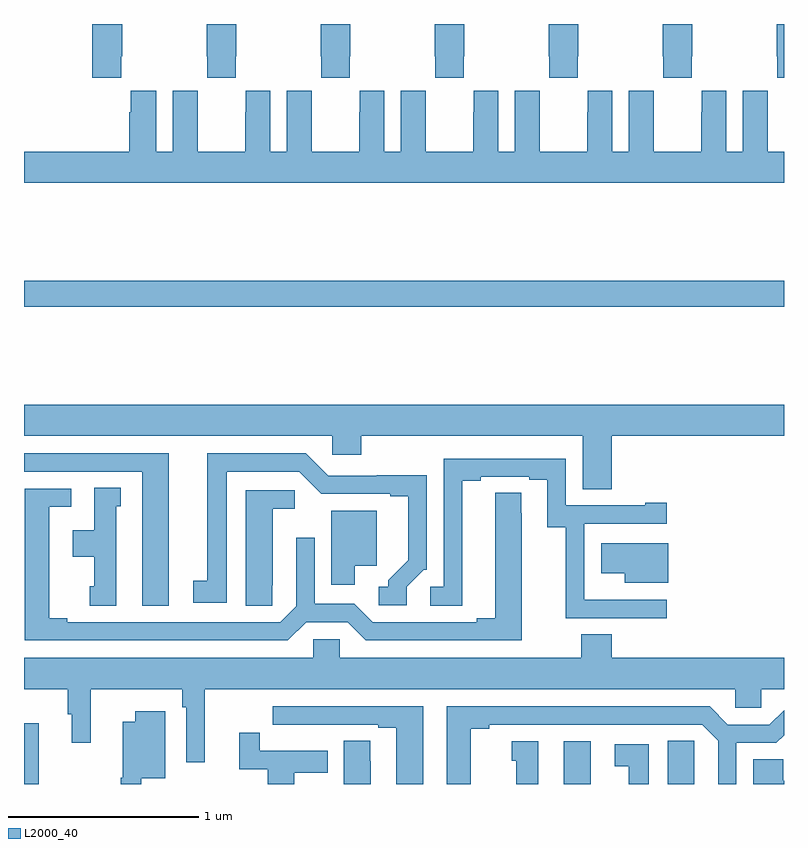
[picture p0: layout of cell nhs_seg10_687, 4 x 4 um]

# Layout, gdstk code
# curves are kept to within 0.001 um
import gdstk
lib = gdstk.Library(unit=1e-6, precision=1e-09)
def R(c, l, rs):  # rectangles x0, y0, x1, y1
    for r in rs: c.add(gdstk.rectangle(r[:2], r[2:], *l))
def P(c, l, *ps):  # polygons
    for p in ps: c.add(gdstk.Polygon(p, *l))
L2000_40 = (2000, 40)

nhs_seg10_687 = lib.new_cell('nhs_seg10_687')
R(nhs_seg10_687, L2000_40, [(145,1282.5,145.078,1282.819), (147.842,1282.5,147.982,1282.726), (145,1285.012,149,1285.148)])
P(nhs_seg10_687, L2000_40, [(149,1286.5),(148.963,1286.5),(148.963,1286.329),(148.965,1286.329),(148.965,1286.217),(149,1286.217)],
  [(148.515,1286.329),(148.518,1286.329),(148.518,1286.5),(148.363,1286.5),(148.363,1286.329),(148.365,1286.329),(148.365,1286.217),(148.515,1286.217)],
  [(147.915,1286.329),(147.918,1286.329),(147.918,1286.5),(147.763,1286.5),(147.763,1286.329),(147.765,1286.329),(147.765,1286.217),(147.915,1286.217)],
  [(147.315,1286.329),(147.318,1286.329),(147.318,1286.5),(147.163,1286.5),(147.163,1286.329),(147.165,1286.329),(147.165,1286.217),(147.315,1286.217)],
  [(146.715,1286.329),(146.718,1286.329),(146.718,1286.5),(146.563,1286.5),(146.563,1286.329),(146.565,1286.329),(146.565,1286.217),(146.715,1286.217)],
  [(146.115,1286.329),(146.118,1286.329),(146.118,1286.5),(145.963,1286.5),(145.963,1286.329),(145.965,1286.329),(145.965,1286.217),(146.115,1286.217)],
  [(145.511,1286.329),(145.518,1286.329),(145.518,1286.5),(145.358,1286.5),(145.358,1286.217),(145.511,1286.217)],
  [(149,1285.828),(148.915,1285.828),(148.915,1286.036),(148.914,1286.036),(148.914,1286.149),(148.784,1286.149),(148.784,1285.828),(148.696,1285.828),(148.696,1286.149),(148.566,1286.149),(148.566,1286.036),(148.565,1286.036),(148.565,1285.828),(148.315,1285.828),(148.315,1286.036),(148.314,1286.036),(148.314,1286.149),(148.184,1286.149),(148.184,1285.828),(148.096,1285.828),(148.096,1286.149),(147.966,1286.149),(147.966,1286.036),(147.965,1286.036),(147.965,1285.828),(147.715,1285.828),(147.715,1286.036),(147.714,1286.036),(147.714,1286.149),(147.584,1286.149),(147.584,1285.828),(147.496,1285.828),(147.496,1286.149),(147.366,1286.149),(147.366,1286.036),(147.365,1286.036),(147.365,1285.828),(147.115,1285.828),(147.115,1286.036),(147.114,1286.036),(147.114,1286.149),(146.984,1286.149),(146.984,1285.828),(146.896,1285.828),(146.896,1286.149),(146.766,1286.149),(146.766,1286.036),(146.765,1286.036),(146.765,1285.828),(146.515,1285.828),(146.515,1286.036),(146.514,1286.036),(146.514,1286.149),(146.384,1286.149),(146.384,1285.828),(146.296,1285.828),(146.296,1286.149),(146.166,1286.149),(146.166,1286.036),(146.165,1286.036),(146.165,1285.828),(145.915,1285.828),(145.915,1286.036),(145.914,1286.036),(145.914,1286.149),(145.784,1286.149),(145.784,1285.828),(145.696,1285.828),(145.696,1286.149),(145.562,1286.149),(145.562,1286.036),(145.553,1286.036),(145.553,1285.828),(145,1285.828),(145,1285.664),(149,1285.664)],
  [(148.094,1284.332),(149,1284.332),(149,1284.496),(145,1284.496),(145,1284.332),(146.622,1284.332),(146.622,1284.234),(146.774,1284.234),(146.774,1284.332),(147.941,1284.332),(147.941,1284.052),(148.094,1284.052)],
  [(147.015,1283.538),(147.105,1283.628),(147.12,1283.628),(147.12,1284.125),(146.857,1284.125),(146.857,1284.123),(146.601,1284.123),(146.484,1284.24),(145.964,1284.24),(145.964,1283.57),(145.89,1283.57),(145.89,1283.454),(146.068,1283.454),(146.068,1284.144),(146.448,1284.144),(146.565,1284.027),(146.927,1284.027),(146.927,1284.015),(147.023,1284.015),(147.023,1283.678),(146.918,1283.573),(146.918,1283.538),(146.868,1283.538),(146.868,1283.442),(147.015,1283.442)],
  [(145.762,1284.24),(145,1284.24),(145,1284.144),(145.622,1284.144),(145.622,1283.439),(145.762,1283.439)],
  [(148.384,1283.469),(147.95,1283.469),(147.95,1283.47),(147.948,1283.47),(147.948,1283.871),(148.384,1283.871),(148.384,1283.98),(148.271,1283.98),(148.271,1283.967),(147.852,1283.967),(147.852,1284.213),(147.21,1284.213),(147.21,1283.538),(147.138,1283.538),(147.138,1283.437),(147.307,1283.437),(147.307,1284.097),(147.403,1284.097),(147.403,1284.117),(147.659,1284.117),(147.659,1284.102),(147.755,1284.102),(147.755,1283.851),(147.85,1283.851),(147.85,1283.373),(148.384,1283.373)],
  [(145.486,1283.961),(145.51,1283.961),(145.51,1284.059),(145.37,1284.059),(145.37,1283.836),(145.256,1283.836),(145.256,1283.696),(145.37,1283.696),(145.37,1283.541),(145.346,1283.541),(145.346,1283.439),(145.486,1283.439)],
  [(146.485,1283.352),(146.703,1283.352),(146.799,1283.256),(147.619,1283.256),(147.618,1284.032),(147.479,1284.032),(147.479,1283.372),(147.383,1283.372),(147.383,1283.352),(146.835,1283.352),(146.739,1283.448),(146.529,1283.448),(146.529,1283.797),(146.433,1283.797),(146.433,1283.436),(146.349,1283.352),(145.228,1283.352),(145.228,1283.372),(145.132,1283.372),(145.132,1283.958),(145.249,1283.958),(145.249,1284.054),(145.004,1284.054),(145.004,1283.256),(146.389,1283.256)],
  [(146.307,1283.545),(146.308,1283.545),(146.308,1283.948),(146.425,1283.948),(146.425,1284.045),(146.168,1284.045),(146.168,1283.437),(146.307,1283.437)],
  [(146.74,1283.648),(146.857,1283.648),(146.857,1283.938),(146.618,1283.938),(146.618,1283.55),(146.74,1283.55)],
  [(148.39,1283.767),(148.038,1283.767),(148.038,1283.609),(148.163,1283.609),(148.163,1283.558),(148.39,1283.558)],
  [(145.952,1283),(148.743,1283),(148.743,1282.902),(148.881,1282.902),(148.881,1283),(149,1283),(149,1283.164),(148.094,1283.164),(148.094,1283.288),(147.934,1283.288),(147.934,1283.164),(146.661,1283.164),(146.661,1283.262),(146.523,1283.262),(146.523,1283.164),(145,1283.164),(145,1283),(145.231,1283),(145.231,1282.866),(145.25,1282.866),(145.25,1282.716),(145.35,1282.716),(145.35,1283),(145.834,1283),(145.834,1282.904),(145.854,1282.904),(145.854,1282.614),(145.952,1282.614)],
  [(147.1,1282.908),(146.31,1282.908),(146.31,1282.812),(146.422,1282.812),(146.422,1282.811),(146.588,1282.811),(146.588,1282.812),(146.864,1282.812),(146.864,1282.797),(146.96,1282.797),(146.96,1282.5),(147.1,1282.5)],
  [(147.352,1282.792),(147.448,1282.792),(147.448,1282.812),(148.569,1282.812),(148.653,1282.728),(148.653,1282.5),(148.749,1282.5),(148.749,1282.716),(148.959,1282.716),(149,1282.757),(149,1282.889),(148.923,1282.812),(148.705,1282.812),(148.609,1282.908),(147.224,1282.908),(147.224,1282.5),(147.352,1282.5)],
  [(145.617,1282.529),(145.744,1282.529),(145.744,1282.882),(145.586,1282.882),(145.586,1282.828),(145.52,1282.828),(145.52,1282.533),(145.509,1282.533),(145.509,1282.5),(145.617,1282.5)],
  [(146.422,1282.558),(146.599,1282.558),(146.599,1282.674),(146.24,1282.674),(146.24,1282.771),(146.132,1282.771),(146.132,1282.578),(146.282,1282.578),(146.282,1282.5),(146.422,1282.5)],
  [(148.528,1282.619),(148.527,1282.619),(148.527,1282.727),(148.388,1282.727),(148.388,1282.5),(148.528,1282.5)],
  [(146.824,1282.619),(146.823,1282.619),(146.823,1282.727),(146.684,1282.727),(146.684,1282.5),(146.824,1282.5)],
  [(147.706,1282.726),(147.566,1282.726),(147.566,1282.623),(147.59,1282.623),(147.59,1282.5),(147.706,1282.5)],
  [(148.288,1282.71),(148.11,1282.71),(148.11,1282.594),(148.184,1282.594),(148.184,1282.5),(148.288,1282.5)],
  [(149,1282.516),(148.996,1282.516),(148.996,1282.631),(148.838,1282.631),(148.838,1282.5),(149,1282.5)])

lib.write_gds('nhs_seg10_687.gds')
